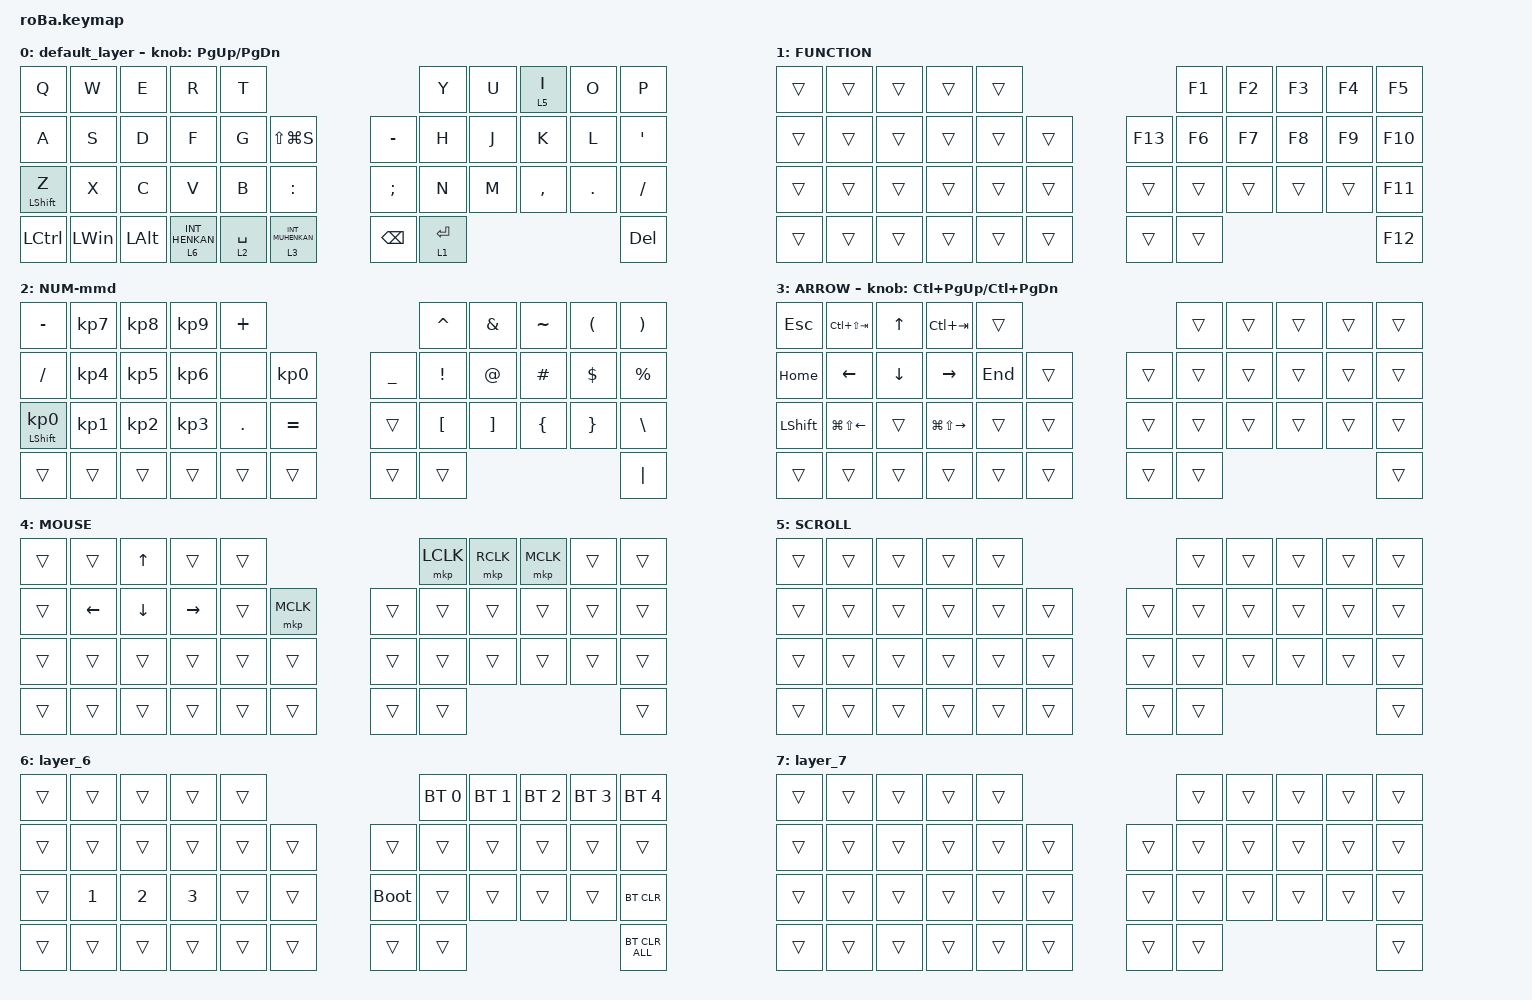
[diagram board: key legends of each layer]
#include <behaviors.dtsi>
#include <dt-bindings/zmk/bt.h>
#include <dt-bindings/zmk/keys.h>
#include <dt-bindings/zmk/pointing.h>

#define MOUSE 4
#define SCROLL 5
#define NUM 6

&mt {
    flavor = "balanced";
    quick-tap-ms = <0>;
};

/ {
    combos {
        compatible = "zmk,combos";

        muhennkann {
            bindings = <&to_layer_0 INT_MUHENKAN>;
            key-positions = <39 40>;
        };

        double_quotation {
            bindings = <&kp DOUBLE_QUOTES>;
            key-positions = <0 4>;
        };

        eq {
            bindings = <&kp EQUAL>;
            key-positions = <24 25>;
        };

        backspace {
            bindings = <&kp BACKSPACE>;
            key-positions = <27 39>;
        };

        rayero {
            bindings = <&tog 0>;
            key-positions = <0 1>;
        };

        rayer2num {
            bindings = <&tog 1>;
            key-positions = <10 11>;
        };

        kakko1 {
            bindings = <&kp LEFT_PARENTHESIS>;
            key-positions = <1 2>;
        };

        kakko2 {
            bindings = <&kp RIGHT_PARENTHESIS>;
            key-positions = <3 4>;
        };

        slash {
            bindings = <&kp SLASH>;
            key-positions = <11 12>;
        };

        astarisk {
            bindings = <&kp ASTERISK>;
            key-positions = <13 14>;
        };

        numpad- {
            bindings = <&kp MINUS>;
            key-positions = <4 14>;
        };

        enter {
            bindings = <&kp ENTER>;
            key-positions = <27 26>;
        };
    };

    macros {
        to_layer_0: to_layer_0 {
            compatible = "zmk,behavior-macro-one-param";
            #binding-cells = <1>;
            bindings = <&to 0 &macro_param_1to1 &kp MACRO_PLACEHOLDER>;
            label = "TO_LAYER_0";
        };
    };

    behaviors {
        lt_to_layer_0: lt_to_layer_0 {
            compatible = "zmk,behavior-hold-tap";
            label = "LAYER_TAP_TO_0";
            bindings = <&mo>, <&to_layer_0>;

            #binding-cells = <2>;
            tapping-term-ms = <200>;
        };
    };

    keymap {
        compatible = "zmk,keymap";

        default_layer {
            bindings = <
&kp Q             &kp W         &kp E         &kp R                        &kp T                                                          &kp Y        &kp U  &lt 5 I    &kp O    &kp P
&kp A             &kp S         &kp D         &kp F                        &kp G        &kp LS(LG(S))                      &kp MINUS      &kp H        &kp J  &kp K      &kp L    &kp SQT
&mt LEFT_SHIFT Z  &kp X         &kp C         &kp V                        &kp B        &kp COLON                          &kp SEMICOLON  &kp N        &kp M  &kp COMMA  &kp DOT  &kp SLASH
&kp LCTRL         &kp LEFT_WIN  &kp LEFT_ALT  &lt_to_layer_0 6 INT_HENKAN  &lt 2 SPACE  &lt_to_layer_0 3 INT_MUHENKAN      &kp BACKSPACE  &lt 1 ENTER                             &kp DEL
            >;

            sensor-bindings = <&inc_dec_kp PG_UP PAGE_DOWN>;
        };

        FUNCTION {
            bindings = <
&trans  &trans  &trans  &trans  &trans                       &kp F1  &kp F2  &kp F3  &kp F4  &kp F5
&trans  &trans  &trans  &trans  &trans  &trans      &kp F13  &kp F6  &kp F7  &kp F8  &kp F9  &kp F10
&trans  &trans  &trans  &trans  &trans  &trans      &trans   &trans  &trans  &trans  &trans  &kp F11
&trans  &trans  &trans  &trans  &trans  &trans      &trans   &trans                          &kp F12
            >;
        };

        NUM-mmd {
            bindings = <
&kp MINUS                   &kp KP_NUMBER_7  &kp KP_NUMBER_8  &kp KP_NUMBER_9  &kp PLUS                                         &kp CARET         &kp AMPERSAND      &kp TILDE       &kp LEFT_PARENTHESIS  &kp RIGHT_PARENTHESIS
&kp SLASH                   &kp KP_NUMBER_4  &kp KP_NUMBER_5  &kp KP_NUMBER_6  &none       &kp KP_NUMBER_0      &kp UNDERSCORE  &kp EXCLAMATION   &kp AT_SIGN        &kp HASH        &kp DOLLAR            &kp PERCENT
&mt LEFT_SHIFT KP_NUMBER_0  &kp KP_NUMBER_1  &kp KP_NUMBER_2  &kp KP_NUMBER_3  &kp PERIOD  &kp EQUAL            &trans          &kp LEFT_BRACKET  &kp RIGHT_BRACKET  &kp LEFT_BRACE  &kp RIGHT_BRACE       &kp BACKSLASH
&trans                      &trans           &trans           &trans           &trans      &trans               &trans          &trans                                                                     &kp PIPE
            >;
        };

        ARROW {
            bindings = <
&kp ESCAPE      &kp LC(LS(TAB))         &kp UP_ARROW    &kp LC(TAB)              &trans                       &trans  &trans  &trans  &trans  &trans
&kp HOME        &kp LEFT_ARROW          &kp DOWN_ARROW  &kp RIGHT_ARROW          &kp END  &trans      &trans  &trans  &trans  &trans  &trans  &trans
&kp LEFT_SHIFT  &kp LG(LS(LEFT_ARROW))  &trans          &kp LG(LS(RIGHT_ARROW))  &trans   &trans      &trans  &trans  &trans  &trans  &trans  &trans
&trans          &trans                  &trans          &trans                   &trans   &trans      &trans  &trans                          &trans
            >;

            sensor-bindings = <&inc_dec_kp LC(PAGE_UP) LC(PAGE_DOWN)>;
        };

        MOUSE {
            bindings = <
&trans  &trans          &kp UP_ARROW    &trans           &trans                         &mkp LCLK  &mkp RCLK  &mkp MCLK  &trans  &trans
&trans  &kp LEFT_ARROW  &kp DOWN_ARROW  &kp RIGHT_ARROW  &trans  &mkp MCLK      &trans  &trans     &trans     &trans     &trans  &trans
&trans  &trans          &trans          &trans           &trans  &trans         &trans  &trans     &trans     &trans     &trans  &trans
&trans  &trans          &trans          &trans           &trans  &trans         &trans  &trans                                   &trans
            >;
        };

        SCROLL {
            bindings = <
&trans  &trans  &trans  &trans  &trans                      &trans  &trans  &trans  &trans  &trans
&trans  &trans  &trans  &trans  &trans  &trans      &trans  &trans  &trans  &trans  &trans  &trans
&trans  &trans  &trans  &trans  &trans  &trans      &trans  &trans  &trans  &trans  &trans  &trans
&trans  &trans  &trans  &trans  &trans  &trans      &trans  &trans                          &trans
            >;
        };

        layer_6 {
            bindings = <
&trans  &trans        &trans        &trans        &trans                           &bt BT_SEL 0  &bt BT_SEL 1  &bt BT_SEL 2  &bt BT_SEL 3  &bt BT_SEL 4
&trans  &trans        &trans        &trans        &trans  &trans      &trans       &trans        &trans        &trans        &trans        &trans
&trans  &kp NUMBER_1  &kp NUMBER_2  &kp NUMBER_3  &trans  &trans      &bootloader  &trans        &trans        &trans        &trans        &bt BT_CLR
&trans  &trans        &trans        &trans        &trans  &trans      &trans       &trans                                                  &bt BT_CLR_ALL
            >;
        };

        layer_7 {
            bindings = <
&trans  &trans  &trans  &trans  &trans                      &trans  &trans  &trans  &trans  &trans
&trans  &trans  &trans  &trans  &trans  &trans      &trans  &trans  &trans  &trans  &trans  &trans
&trans  &trans  &trans  &trans  &trans  &trans      &trans  &trans  &trans  &trans  &trans  &trans
&trans  &trans  &trans  &trans  &trans  &trans      &trans  &trans                          &trans
            >;
        };
    };
};
